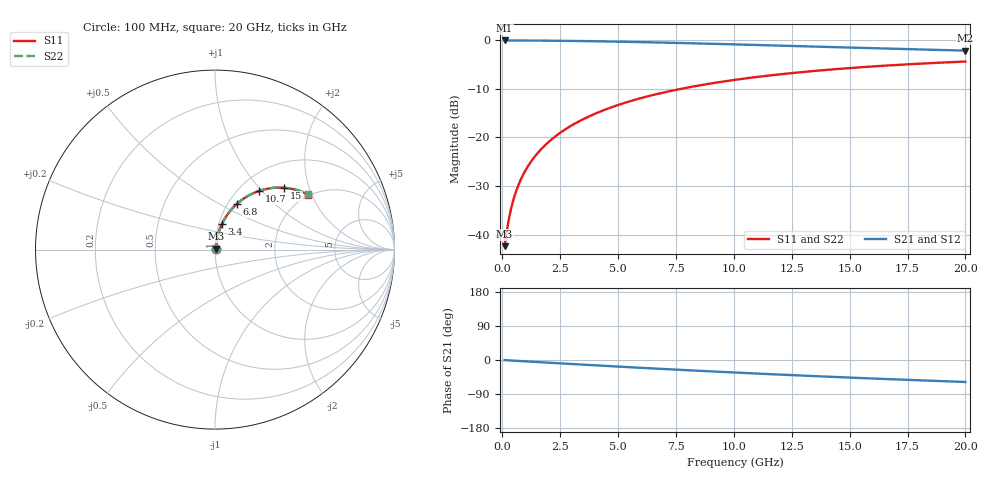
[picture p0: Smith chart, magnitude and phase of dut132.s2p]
! Touchstone file exported from HFSS 2026.1.0
!  File:  C:/ffzhzh/LocalFiles/Ansys_Project_Files/temp_train_BSMRDL_132_1782986240_6248.aedt
!  Generated:  05:58:53 PM Jul  2, 2026
!  Design:  BSMRDL
!  Project:  temp_train_BSMRDL_132_1782986240_6248
! Variables:
!  h_bsmrdl = 4.64um
!  h_ox = 20um
!  h_rdl = 5um
!  h_sub = 80um
!  h_tmrdl = 5um
!  h_tsv = 80um
!  h_via = 3um
!  l_bsmrdl = 843.66um
!  l_sub = 1243.66um
!  l_tmrdl = 200um
!  m_sub = 200um
!  pitch = 47.44um
!  r_tsv = 6um
!  s_tmrdl = 10um
!  w_bsmrdl = 10.57um
!  w_sub = 500um
!  w_tmrdl = 12um
!  x_tsv_center1 = 206um
!  x_tsv_center2 = 1060.23um
!  x_tsv_center3 = 1272.23um
!  x_tsv_center4 = 2126.46um
!  x_tsv_center5 = 2338.46um
!  x_tsv_center6 = 3192.69um
# GHz S MA R 50.000000
! Terminal data exported
! Port[1] = BSM_RDL1_1_T1
! Port[2] = BSM_RDL1_1_T2
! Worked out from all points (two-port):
!   200 points, 100 MHz to 20 GHz, reference 50 ohm
!   highest |S21| = -0.05 dB at 100 MHz (marker M1); lowest = -2.1 dB at 20 GHz (marker M2)
!   |S21| within 3 dB of the highest: start of sweep to end of sweep
!   lowest |S11| = -42.4 dB at 100 MHz (marker M3), VSWR 1.02, Z = 50.6 + j0.466 ohm
!   |S11| at or under -10 dB: start of sweep to 7.719 GHz
!   |S22| runs from -42.4 to -4.4 dB; largest |S21 - S12| = 3.1e-15
!   S11 on the Smith chart (normalised r, x): 100 MHz: 1.01, +0.01; 3.4 GHz: 1.04, +0.31; 6.8 GHz: 1.10, +0.61; 10.7 GHz: 1.23, +0.97; 15 GHz: 1.48, +1.39; 20 GHz: 1.97, +1.89
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0.1  0.007623 37.2  0.9939 -0.4  0.9939 -0.4  0.007623 37.2
! Gamma 0 0 0 0
! Port Impedance 50 0 50 0
0.2  0.0111 55.8  0.9938 -0.7  0.9938 -0.7  0.0111 55.8
0.3  0.01518 64.7  0.9937 -1.1  0.9937 -1.1  0.01518 64.7
0.4  0.01944 69.6  0.9935 -1.4  0.9935 -1.4  0.01944 69.6
0.5  0.02378 72.5  0.9933 -1.8  0.9933 -1.8  0.02378 72.5
0.6  0.02816 74.5  0.9931 -2.2  0.9931 -2.2  0.02816 74.5
0.8  0.03695 76.7  0.9927 -2.9  0.9927 -2.9  0.03695 76.7
1.1  0.0502 78.2  0.9919 -3.9  0.9919 -3.9  0.0502 78.2
1.5  0.06788 78.6  0.9906 -5.4  0.9906 -5.4  0.06788 78.6
2  0.08987 78.1  0.9885 -7.1  0.9885 -7.1  0.08987 78.1
2.6  0.116 76.8  0.9853 -9.2  0.9853 -9.2  0.116 76.8
3.4  0.1501 74.6  0.9799 -12.0  0.9799 -12.0  0.1501 74.7
3.5  0.1543 74.4  0.9792 -12.3  0.9792 -12.3  0.1543 74.4
5  0.2156 69.8  0.9661 -17.4  0.9661 -17.4  0.2155 69.8
6.8  0.2838 64.3  0.9467 -23.2  0.9467 -23.2  0.2838 64.3
8.3  0.3359 59.8  0.9285 -27.9  0.9285 -27.9  0.3359 59.8
10.1  0.3928 54.6  0.9051 -33.2  0.9051 -33.2  0.3928 54.7
10.7  0.4103 52.9  0.8971 -35.0  0.8971 -35.0  0.4103 53.0
13.4  0.4811 45.7  0.861 -42.3  0.861 -42.3  0.4811 45.9
15  0.5169 41.8  0.8401 -46.4  0.8401 -46.4  0.5169 41.9
16.7  0.5504 37.7  0.8189 -50.6  0.8189 -50.6  0.5504 37.9
20  0.6035 30.4  0.7815 -58.0  0.7815 -58.0  0.6035 30.6
